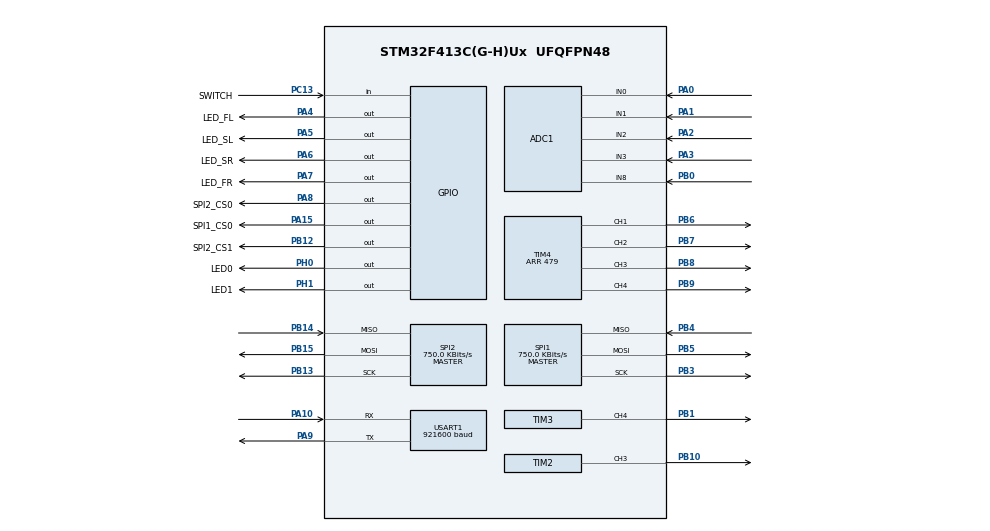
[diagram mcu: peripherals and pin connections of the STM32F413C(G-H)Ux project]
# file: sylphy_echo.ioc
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ADC1.Channel-0\#ChannelRegularConversion=ADC_CHANNEL_8
ADC1.Channel-1\#ChannelRegularConversion=ADC_CHANNEL_8
ADC1.Channel-10\#ChannelRegularConversion=ADC_CHANNEL_8
ADC1.Channel-11\#ChannelRegularConversion=ADC_CHANNEL_8
ADC1.Channel-2\#ChannelRegularConversion=ADC_CHANNEL_3
ADC1.Channel-3\#ChannelRegularConversion=ADC_CHANNEL_3
ADC1.Channel-4\#ChannelRegularConversion=ADC_CHANNEL_0
ADC1.Channel-5\#ChannelRegularConversion=ADC_CHANNEL_0
ADC1.Channel-6\#ChannelRegularConversion=ADC_CHANNEL_2
ADC1.Channel-7\#ChannelRegularConversion=ADC_CHANNEL_2
ADC1.Channel-8\#ChannelRegularConversion=ADC_CHANNEL_1
ADC1.Channel-9\#ChannelRegularConversion=ADC_CHANNEL_1
ADC1.ClockPrescaler=ADC_CLOCK_SYNC_PCLK_DIV4
ADC1.DMAContinuousRequests=ENABLE
ADC1.DiscontinuousConvMode=ENABLE
ADC1.EOCSelection=ADC_EOC_SEQ_CONV
ADC1.ExternalTrigConv=ADC_EXTERNALTRIGCONV_T1_CC3
ADC1.NbrOfConversion=12
ADC1.NbrOfConversionFlag=1
ADC1.Rank-0\#ChannelRegularConversion=1
ADC1.Rank-1\#ChannelRegularConversion=2
ADC1.Rank-10\#ChannelRegularConversion=11
ADC1.Rank-11\#ChannelRegularConversion=12
ADC1.Rank-2\#ChannelRegularConversion=3
ADC1.Rank-3\#ChannelRegularConversion=4
ADC1.Rank-4\#ChannelRegularConversion=5
ADC1.Rank-5\#ChannelRegularConversion=6
ADC1.Rank-6\#ChannelRegularConversion=7
ADC1.Rank-7\#ChannelRegularConversion=8
ADC1.Rank-8\#ChannelRegularConversion=9
ADC1.Rank-9\#ChannelRegularConversion=10
ADC1.SamplingTime-0\#ChannelRegularConversion=ADC_SAMPLETIME_56CYCLES
ADC1.SamplingTime-1\#ChannelRegularConversion=ADC_SAMPLETIME_56CYCLES
ADC1.SamplingTime-10\#ChannelRegularConversion=ADC_SAMPLETIME_56CYCLES
ADC1.SamplingTime-11\#ChannelRegularConversion=ADC_SAMPLETIME_56CYCLES
ADC1.SamplingTime-2\#ChannelRegularConversion=ADC_SAMPLETIME_56CYCLES
ADC1.SamplingTime-3\#ChannelRegularConversion=ADC_SAMPLETIME_56CYCLES
ADC1.SamplingTime-4\#ChannelRegularConversion=ADC_SAMPLETIME_56CYCLES
ADC1.SamplingTime-5\#ChannelRegularConversion=ADC_SAMPLETIME_56CYCLES
ADC1.SamplingTime-6\#ChannelRegularConversion=ADC_SAMPLETIME_56CYCLES
ADC1.SamplingTime-7\#ChannelRegularConversion=ADC_SAMPLETIME_56CYCLES
ADC1.SamplingTime-8\#ChannelRegularConversion=ADC_SAMPLETIME_56CYCLES
ADC1.SamplingTime-9\#ChannelRegularConversion=ADC_SAMPLETIME_56CYCLES
ADC1.ScanConvMode=ENABLE
ADC1.master=1
Dma.ADC1.0.Direction=DMA_PERIPH_TO_MEMORY
Dma.ADC1.0.FIFOMode=DMA_FIFOMODE_DISABLE
Dma.ADC1.0.Instance=DMA2_Stream4
Dma.ADC1.0.MemDataAlignment=DMA_MDATAALIGN_HALFWORD
Dma.ADC1.0.MemInc=DMA_MINC_ENABLE
Dma.ADC1.0.Mode=DMA_CIRCULAR
Dma.ADC1.0.PeriphDataAlignment=DMA_PDATAALIGN_HALFWORD
Dma.ADC1.0.PeriphInc=DMA_PINC_DISABLE
Dma.ADC1.0.Priority=DMA_PRIORITY_MEDIUM
Dma.Request0=ADC1
Dma.Request1=TIM1_CH1
Dma.Request2=TIM1_CH2
Dma.Request3=TIM3_CH4/UP
Dma.Request4=SPI1_RX
Dma.Request5=SPI1_TX
Dma.Request6=SPI2_RX
Dma.Request7=SPI2_TX
Dma.Request8=USART1_RX
Dma.Request9=USART1_TX
Dma.SPI1_RX.4.Direction=DMA_PERIPH_TO_MEMORY
Dma.SPI1_RX.4.FIFOMode=DMA_FIFOMODE_DISABLE
Dma.SPI1_RX.4.Instance=DMA2_Stream0
Dma.SPI1_RX.4.MemDataAlignment=DMA_MDATAALIGN_BYTE
Dma.SPI1_RX.4.MemInc=DMA_MINC_ENABLE
Dma.SPI1_RX.4.Mode=DMA_NORMAL
Dma.SPI1_RX.4.PeriphDataAlignment=DMA_PDATAALIGN_BYTE
Dma.SPI1_RX.4.PeriphInc=DMA_PINC_DISABLE
Dma.SPI1_RX.4.Priority=DMA_PRIORITY_VERY_HIGH
Dma.SPI1_TX.5.Direction=DMA_MEMORY_TO_PERIPH
Dma.SPI1_TX.5.FIFOMode=DMA_FIFOMODE_DISABLE
Dma.SPI1_TX.5.Instance=DMA2_Stream3
Dma.SPI1_TX.5.MemDataAlignment=DMA_MDATAALIGN_BYTE
Dma.SPI1_TX.5.MemInc=DMA_MINC_DISABLE
Dma.SPI1_TX.5.Mode=DMA_NORMAL
Dma.SPI1_TX.5.PeriphDataAlignment=DMA_PDATAALIGN_BYTE
Dma.SPI1_TX.5.PeriphInc=DMA_PINC_DISABLE
Dma.SPI1_TX.5.Priority=DMA_PRIORITY_VERY_HIGH
Dma.SPI2_RX.6.Direction=DMA_PERIPH_TO_MEMORY
Dma.SPI2_RX.6.FIFOMode=DMA_FIFOMODE_DISABLE
Dma.SPI2_RX.6.Instance=DMA1_Stream3
Dma.SPI2_RX.6.MemDataAlignment=DMA_MDATAALIGN_HALFWORD
Dma.SPI2_RX.6.MemInc=DMA_MINC_ENABLE
Dma.SPI2_RX.6.Mode=DMA_NORMAL
Dma.SPI2_RX.6.PeriphDataAlignment=DMA_PDATAALIGN_HALFWORD
Dma.SPI2_RX.6.PeriphInc=DMA_PINC_DISABLE
Dma.SPI2_RX.6.Priority=DMA_PRIORITY_VERY_HIGH
Dma.SPI2_TX.7.Direction=DMA_MEMORY_TO_PERIPH
Dma.SPI2_TX.7.FIFOMode=DMA_FIFOMODE_DISABLE
Dma.SPI2_TX.7.Instance=DMA1_Stream4
Dma.SPI2_TX.7.MemDataAlignment=DMA_MDATAALIGN_HALFWORD
Dma.SPI2_TX.7.MemInc=DMA_MINC_DISABLE
Dma.SPI2_TX.7.Mode=DMA_NORMAL
Dma.SPI2_TX.7.PeriphDataAlignment=DMA_PDATAALIGN_HALFWORD
Dma.SPI2_TX.7.PeriphInc=DMA_PINC_DISABLE
Dma.SPI2_TX.7.Priority=DMA_PRIORITY_VERY_HIGH
Dma.TIM1_CH1.1.Direction=DMA_MEMORY_TO_PERIPH
Dma.TIM1_CH1.1.FIFOMode=DMA_FIFOMODE_DISABLE
Dma.TIM1_CH1.1.Instance=DMA2_Stream1
Dma.TIM1_CH1.1.MemDataAlignment=DMA_MDATAALIGN_WORD
Dma.TIM1_CH1.1.MemInc=DMA_MINC_ENABLE
Dma.TIM1_CH1.1.Mode=DMA_CIRCULAR
Dma.TIM1_CH1.1.PeriphDataAlignment=DMA_PDATAALIGN_WORD
Dma.TIM1_CH1.1.PeriphInc=DMA_PINC_DISABLE
Dma.TIM1_CH1.1.Priority=DMA_PRIORITY_VERY_HIGH
Dma.TIM1_CH2.2.Direction=DMA_MEMORY_TO_PERIPH
Dma.TIM1_CH2.2.FIFOMode=DMA_FIFOMODE_DISABLE
Dma.TIM1_CH2.2.Instance=DMA2_Stream2
Dma.TIM1_CH2.2.MemDataAlignment=DMA_MDATAALIGN_WORD
Dma.TIM1_CH2.2.MemInc=DMA_MINC_DISABLE
Dma.TIM1_CH2.2.Mode=DMA_CIRCULAR
Dma.TIM1_CH2.2.PeriphDataAlignment=DMA_PDATAALIGN_WORD
Dma.TIM1_CH2.2.PeriphInc=DMA_PINC_DISABLE
Dma.TIM1_CH2.2.Priority=DMA_PRIORITY_VERY_HIGH
Dma.TIM3_CH4/UP.3.Direction=DMA_MEMORY_TO_PERIPH
Dma.TIM3_CH4/UP.3.FIFOMode=DMA_FIFOMODE_DISABLE
Dma.TIM3_CH4/UP.3.Instance=DMA1_Stream2
Dma.TIM3_CH4/UP.3.MemDataAlignment=DMA_MDATAALIGN_HALFWORD
Dma.TIM3_CH4/UP.3.MemInc=DMA_MINC_ENABLE
Dma.TIM3_CH4/UP.3.Mode=DMA_NORMAL
Dma.TIM3_CH4/UP.3.PeriphDataAlignment=DMA_PDATAALIGN_HALFWORD
Dma.TIM3_CH4/UP.3.PeriphInc=DMA_PINC_DISABLE
Dma.TIM3_CH4/UP.3.Priority=DMA_PRIORITY_LOW
Dma.USART1_RX.8.Direction=DMA_PERIPH_TO_MEMORY
Dma.USART1_RX.8.FIFOMode=DMA_FIFOMODE_DISABLE
Dma.USART1_RX.8.Instance=DMA2_Stream5
Dma.USART1_RX.8.MemDataAlignment=DMA_MDATAALIGN_BYTE
Dma.USART1_RX.8.MemInc=DMA_MINC_ENABLE
Dma.USART1_RX.8.Mode=DMA_CIRCULAR
Dma.USART1_RX.8.PeriphDataAlignment=DMA_PDATAALIGN_BYTE
Dma.USART1_RX.8.PeriphInc=DMA_PINC_DISABLE
Dma.USART1_RX.8.Priority=DMA_PRIORITY_LOW
Dma.USART1_TX.9.Direction=DMA_MEMORY_TO_PERIPH
Dma.USART1_TX.9.FIFOMode=DMA_FIFOMODE_DISABLE
Dma.USART1_TX.9.Instance=DMA2_Stream7
Dma.USART1_TX.9.MemDataAlignment=DMA_MDATAALIGN_BYTE
Dma.USART1_TX.9.MemInc=DMA_MINC_ENABLE
Dma.USART1_TX.9.Mode=DMA_NORMAL
Dma.USART1_TX.9.PeriphDataAlignment=DMA_PDATAALIGN_BYTE
Dma.USART1_TX.9.PeriphInc=DMA_PINC_DISABLE
Dma.USART1_TX.9.Priority=DMA_PRIORITY_LOW
Mcu.Family=STM32F4
Mcu.Name=STM32F413C(G-H)Ux
Mcu.Package=UFQFPN48
NVIC.DMA1_Stream2_IRQn=true\:3\:0\:true\:false\:true\:false\:true\:true
NVIC.DMA1_Stream3_IRQn=true\:1\:0\:true\:false\:true\:false\:true\:true
NVIC.DMA1_Stream4_IRQn=true\:1\:0\:true\:false\:true\:false\:true\:true
NVIC.DMA2_Stream0_IRQn=true\:1\:0\:true\:false\:true\:false\:true\:true
NVIC.DMA2_Stream1_IRQn=true\:1\:0\:true\:false\:true\:false\:true\:true
NVIC.DMA2_Stream2_IRQn=true\:1\:0\:true\:false\:true\:false\:true\:true
NVIC.DMA2_Stream3_IRQn=true\:1\:0\:true\:false\:true\:false\:true\:true
NVIC.DMA2_Stream4_IRQn=true\:2\:0\:true\:false\:true\:false\:true\:true
NVIC.DMA2_Stream5_IRQn=true\:3\:0\:true\:false\:true\:false\:true\:true
NVIC.DMA2_Stream7_IRQn=true\:3\:0\:true\:false\:true\:false\:true\:true
NVIC.PriorityGroup=NVIC_PRIORITYGROUP_4
NVIC.TIM5_IRQn=true\:0\:0\:false\:false\:true\:true\:true\:true
PA0.Signal=ADCx_IN0
PA1.Signal=ADCx_IN1
PA10.Mode=Asynchronous
PA10.Signal=USART1_RX
PA13.Mode=Serial_Wire
PA13.Signal=SYS_JTMS-SWDIO
PA14.Mode=Serial_Wire
PA14.Signal=SYS_JTCK-SWCLK
PA15.GPIO_Label=SPI1_CS0
PA15.GPIO_PuPd=GPIO_PULLUP
PA15.GPIO_Speed=GPIO_SPEED_FREQ_VERY_HIGH
PA15.Signal=GPIO_Output
PA2.Signal=ADCx_IN2
PA3.Signal=ADCx_IN3
PA4.GPIO_Label=LED_FL
PA4.GPIO_Speed=GPIO_SPEED_FREQ_VERY_HIGH
PA4.Signal=GPIO_Output
PA5.GPIO_Label=LED_SL
PA5.GPIO_Speed=GPIO_SPEED_FREQ_VERY_HIGH
PA5.Signal=GPIO_Output
PA6.GPIO_Label=LED_SR
PA6.GPIO_Speed=GPIO_SPEED_FREQ_VERY_HIGH
PA6.Signal=GPIO_Output
PA7.GPIO_Label=LED_FR
PA7.GPIO_Speed=GPIO_SPEED_FREQ_VERY_HIGH
PA7.Signal=GPIO_Output
PA8.GPIO_Label=SPI2_CS0
PA8.GPIO_PuPd=GPIO_PULLUP
PA8.GPIO_Speed=GPIO_SPEED_FREQ_VERY_HIGH
PA8.Signal=GPIO_Output
PA9.Mode=Asynchronous
PA9.Signal=USART1_TX
PB0.Signal=ADCx_IN8
PB1.Signal=S_TIM3_CH4
PB10.Signal=S_TIM2_CH3
PB12.GPIO_Label=SPI2_CS1
PB12.GPIO_PuPd=GPIO_PULLUP
PB12.GPIO_Speed=GPIO_SPEED_FREQ_VERY_HIGH
PB12.Signal=GPIO_Output
PB13.Mode=Full_Duplex_Master
PB13.Signal=SPI2_SCK
PB14.Mode=Full_Duplex_Master
PB14.Signal=SPI2_MISO
PB15.Mode=Full_Duplex_Master
PB15.Signal=SPI2_MOSI
PB3.Mode=Full_Duplex_Master
PB3.Signal=SPI1_SCK
PB4.Mode=Full_Duplex_Master
PB4.Signal=SPI1_MISO
PB5.Mode=Full_Duplex_Master
PB5.Signal=SPI1_MOSI
PB6.Signal=S_TIM4_CH1
PB7.Signal=S_TIM4_CH2
PB8.Signal=S_TIM4_CH3
PB9.Signal=S_TIM4_CH4
PC13.GPIO_Label=SWITCH
PC13.Signal=GPIO_Input
PH0\ -\ OSC_IN.GPIO_Label=LED0
PH0\ -\ OSC_IN.Signal=GPIO_Output
PH1\ -\ OSC_OUT.GPIO_Label=LED1
PH1\ -\ OSC_OUT.Signal=GPIO_Output
ProjectManager.HeapSize=0x200
ProjectManager.StackSize=0x400
ProjectManager.TargetToolchain=Makefile
RCC.AHBFreq_Value=48000000
RCC.APB1Freq_Value=48000000
RCC.APB1TimFreq_Value=48000000
RCC.APB2Freq_Value=48000000
RCC.APB2TimFreq_Value=48000000
RCC.CortexFreq_Value=48000000
RCC.HCLKFreq_Value=48000000
RCC.PLLM=8
RCC.PLLP=RCC_PLLP_DIV8
RCC.SYSCLKFreq_VALUE=48000000
RCC.SYSCLKSource=RCC_SYSCLKSOURCE_PLLCLK
RCC.USBFreq_Value=192000000
RCC.VCOOutputFreq_Value=384000000
SH.ADCx_IN0.0=ADC1_IN0,IN0
SH.ADCx_IN1.0=ADC1_IN1,IN1
SH.ADCx_IN2.0=ADC1_IN2,IN2
SH.ADCx_IN3.0=ADC1_IN3,IN3
SH.ADCx_IN8.0=ADC1_IN8,IN8
SH.S_TIM2_CH3.0=TIM2_CH3,PWM Generation3 CH3
SH.S_TIM3_CH4.0=TIM3_CH4,PWM Generation4 CH4
SH.S_TIM4_CH1.0=TIM4_CH1,PWM Generation1 CH1
SH.S_TIM4_CH2.0=TIM4_CH2,PWM Generation2 CH2
SH.S_TIM4_CH3.0=TIM4_CH3,PWM Generation3 CH3
SH.S_TIM4_CH4.0=TIM4_CH4,PWM Generation4 CH4
SPI1.BaudRatePrescaler=SPI_BAUDRATEPRESCALER_64
SPI1.CLKPhase=SPI_PHASE_2EDGE
SPI1.CLKPolarity=SPI_POLARITY_HIGH
SPI1.CalculateBaudRate=750.0 KBits/s
SPI1.Direction=SPI_DIRECTION_2LINES
SPI1.Mode=SPI_MODE_MASTER
SPI1.VirtualType=VM_MASTER
SPI2.BaudRatePrescaler=SPI_BAUDRATEPRESCALER_64
SPI2.CLKPhase=SPI_PHASE_2EDGE
SPI2.CalculateBaudRate=750.0 KBits/s
SPI2.DataSize=SPI_DATASIZE_16BIT
SPI2.Direction=SPI_DIRECTION_2LINES
SPI2.Mode=SPI_MODE_MASTER
SPI2.VirtualType=VM_MASTER
TIM1.Channel-PWM\ Generation1\ No\ Output=TIM_CHANNEL_1
TIM1.Channel-PWM\ Generation2\ No\ Output=TIM_CHANNEL_2
TIM1.Channel-PWM\ Generation3\ No\ Output=TIM_CHANNEL_3
TIM1.OCMode_PWM-PWM\ Generation1\ No\ Output=TIM_OCMODE_PWM2
TIM1.OCMode_PWM-PWM\ Generation2\ No\ Output=TIM_OCMODE_PWM2
TIM1.OCMode_PWM-PWM\ Generation3\ No\ Output=TIM_OCMODE_PWM2
TIM1.Period=39999
TIM1.Pulse-PWM\ Generation1\ No\ Output=1
TIM1.Pulse-PWM\ Generation2\ No\ Output=2161
TIM1.Pulse-PWM\ Generation3\ No\ Output=1921
TIM2.Channel-PWM\ Generation3\ CH3=TIM_CHANNEL_3
TIM2.Period=479
TIM3.Channel-PWM\ Generation4\ CH4=TIM_CHANNEL_4
TIM3.Period=59
TIM4.Channel-PWM\ Generation1\ CH1=TIM_CHANNEL_1
TIM4.Channel-PWM\ Generation2\ CH2=TIM_CHANNEL_2
TIM4.Channel-PWM\ Generation3\ CH3=TIM_CHANNEL_3
TIM4.Channel-PWM\ Generation4\ CH4=TIM_CHANNEL_4
TIM4.OCMode_PWM-PWM\ Generation1\ CH1=TIM_OCMODE_PWM2
TIM4.OCMode_PWM-PWM\ Generation2\ CH2=TIM_OCMODE_PWM2
TIM4.OCMode_PWM-PWM\ Generation3\ CH3=TIM_OCMODE_PWM2
TIM4.OCMode_PWM-PWM\ Generation4\ CH4=TIM_OCMODE_PWM2
TIM4.Period=479
TIM5.Period=47999
USART1.BaudRate=921600
USART1.VirtualMode=VM_ASYNC
VP_TIM1_VS_ClockSourceINT.Mode=Internal
VP_TIM1_VS_no_output1.Mode=PWM Generation1 No Output
VP_TIM1_VS_no_output2.Mode=PWM Generation2 No Output
VP_TIM1_VS_no_output3.Mode=PWM Generation3 No Output
VP_TIM2_VS_ClockSourceINT.Mode=Internal
VP_TIM3_VS_ClockSourceINT.Mode=Internal
VP_TIM4_VS_ClockSourceINT.Mode=Internal
VP_TIM5_VS_ClockSourceINT.Mode=Internal
board=custom

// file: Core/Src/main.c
/* USER CODE BEGIN Header */
/**
  ******************************************************************************
  * @file           : main.c
  * @brief          : Main program body
  ******************************************************************************
  * @attention
  *
  * Copyright (c) 2023 STMicroelectronics.
  * All rights reserved.
  *
  * This software is licensed under terms that can be found in the LICENSE file
  * in the root directory of this software component.
  * If no LICENSE file comes with this software, it is provided AS-IS.
  *
  ******************************************************************************
  */
/* USER CODE END Header */
#include "main.h"
#include "adc.h"
#include "dma.h"
#include "spi.h"
#include "tim.h"
#include "usart.h"
#include "gpio.h"

/* USER CODE BEGIN Includes */
#include <stdio.h>
/* USER CODE END Includes */

void SystemClock_Config(void);
/* USER CODE BEGIN PFP */
extern void Communicate_Initialize(void);
extern void Myshell_Initialize(void);
extern void Interrupt_Initialize(void);
extern void IMU_Initialize(void);
extern void Encoder_Initialize(void);
extern void IRSensor_Initialize(void);
extern void WS2812C_Initialize(void);
extern void Motor_Initialize(void);
extern void SuctionFan_Initialize(void);
extern void WS2812C_StartBootSequence(void);
extern void Battery_LimiterVoltage(void);
extern void Myshell_Execute(void);
/* USER CODE END PFP */

int main(void)
{

  /* MCU Configuration--------------------------------------------------------*/

  /* Reset of all peripherals, Initializes the Flash interface and the Systick. */
  LL_APB2_GRP1_EnableClock(LL_APB2_GRP1_PERIPH_SYSCFG);
  LL_APB1_GRP1_EnableClock(LL_APB1_GRP1_PERIPH_PWR);

  /* System interrupt init*/
  NVIC_SetPriorityGrouping(NVIC_PRIORITYGROUP_4);

  /* Configure the system clock */
  SystemClock_Config();

  /* Initialize all configured peripherals */
  MX_GPIO_Init();
  MX_DMA_Init();
  MX_USART1_UART_Init();
  MX_ADC1_Init();
  MX_TIM1_Init();
  MX_TIM2_Init();
  MX_TIM3_Init();
  MX_TIM4_Init();
  MX_TIM5_Init();
  MX_SPI1_Init();
  MX_SPI2_Init();
  /* USER CODE BEGIN 2 */
	Communicate_Initialize();
	Myshell_Initialize();
	Interrupt_Initialize();
	IMU_Initialize();
	Encoder_Initialize();
	IRSensor_Initialize();
	WS2812C_Initialize();
	Motor_Initialize();
	SuctionFan_Initialize();

	Battery_LimiterVoltage();
	WS2812C_StartBootSequence();
  /* USER CODE END 2 */

  /* Infinite loop */
  while (1)
  {

    /* USER CODE BEGIN 3 */
	Myshell_Execute();
  }
  /* USER CODE END 3 */
}

void SystemClock_Config(void)
{
  LL_FLASH_SetLatency(LL_FLASH_LATENCY_1);
  while(LL_FLASH_GetLatency()!= LL_FLASH_LATENCY_1)
  {
  }
  LL_PWR_SetRegulVoltageScaling(LL_PWR_REGU_VOLTAGE_SCALE1);
  LL_RCC_HSI_SetCalibTrimming(16);
  LL_RCC_HSI_Enable();

   /* Wait till HSI is ready */
  while(LL_RCC_HSI_IsReady() != 1)
  {

  }
  LL_RCC_PLL_ConfigDomain_SYS(LL_RCC_PLLSOURCE_HSI, LL_RCC_PLLM_DIV_8, 192, LL_RCC_PLLP_DIV_8);
  LL_RCC_PLL_Enable();

   /* Wait till PLL is ready */
  while(LL_RCC_PLL_IsReady() != 1)
  {

  }
  LL_RCC_SetAHBPrescaler(LL_RCC_SYSCLK_DIV_1);
  LL_RCC_SetAPB1Prescaler(LL_RCC_APB1_DIV_1);
  LL_RCC_SetAPB2Prescaler(LL_RCC_APB2_DIV_1);
  LL_RCC_SetSysClkSource(LL_RCC_SYS_CLKSOURCE_PLL);

   /* Wait till System clock is ready */
  while(LL_RCC_GetSysClkSource() != LL_RCC_SYS_CLKSOURCE_STATUS_PLL)
  {

  }
  LL_Init1msTick(48000000);
  LL_SetSystemCoreClock(48000000);
  LL_RCC_SetTIMPrescaler(LL_RCC_TIM_PRESCALER_TWICE);
}

void Error_Handler(void)
{
  __disable_irq();
  while (1)
  {
  }
}
